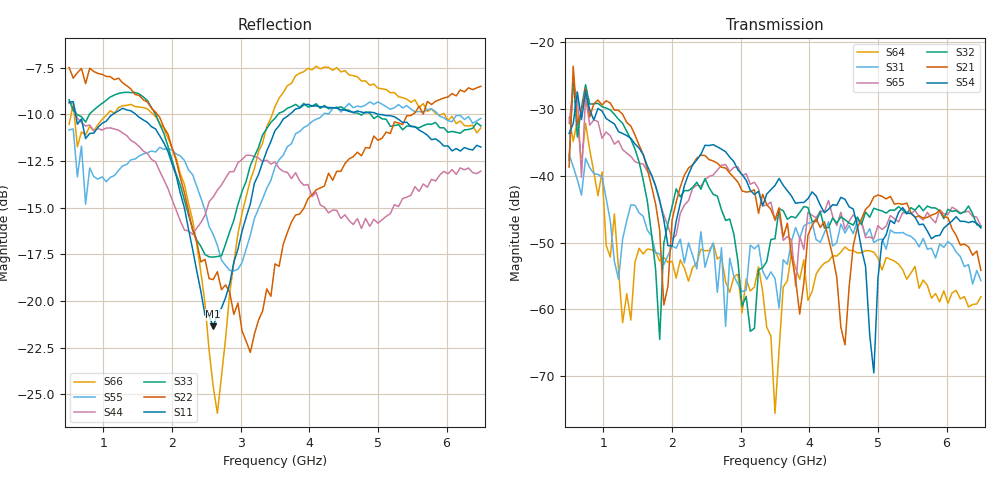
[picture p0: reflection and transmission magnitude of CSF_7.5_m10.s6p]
!Keysight Technologies,M9804A,MY58100912,A.14.10.03
!Date: Thursday, April 27, 2023 10:28:33
!Correction: S11(C  6-Port  )
!S12(C  6-Port  )
!S13(C  6-Port  )
!S14(C  6-Port  )
!S15(C  6-Port  )
!S16(C  6-Port  )
!S21(C  6-Port  )
!S22(C  6-Port  )
!S23(C  6-Port  )
!S24(C  6-Port  )
!S25(C  6-Port  )
!S26(C  6-Port  )
!S31(C  6-Port  )
!S32(C  6-Port  )
!S33(C  6-Port  )
!S34(C  6-Port  )
!S35(C  6-Port  )
!S36(C  6-Port  )
!S41(C  6-Port  )
!S42(C  6-Port  )
!S43(C  6-Port  )
!S44(C  6-Port  )
!S45(C  6-Port  )
!S46(C  6-Port  )
!S51(C  6-Port  )
!S52(C  6-Port  )
!S53(C  6-Port  )
!S54(C  6-Port  )
!S55(C  6-Port  )
!S56(C  6-Port  )
!S61(C  6-Port  )
!S62(C  6-Port  )
!S63(C  6-Port  )
!S64(C  6-Port  )
!S65(C  6-Port  )
!S66(C  6-Port  )
!S6P File: Measurement: :
# Hz S  RI  R 50
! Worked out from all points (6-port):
!   101 points, 500 MHz to 6.5 GHz, reference 50 ohm
!   strongest paths, dB at 500 MHz, 2 GHz, 3.5 GHz, 5 GHz, 6.5 GHz:
!     S54: -33.7, -50.6, -41.5, -55.4, -47.8
!     S21: -38.7, -46.7, -46.6, -42.9, -54.2
!     S32: -37.6, -44.6, -49.4, -45.1, -47.6
!     S65: -32.1, -49.4, -46.7, -47.5, -47.5
!     S31: -36.8, -50.5, -55.4, -49.6, -55.7
!     S64: -31.3, -52.8, -75.6, -52.3, -58.1
!   lowest |S11| = -21.4 dB at 2.6 GHz (marker M1), VSWR 1.19, Z = 42.4 + j2.3 ohm
!   |S11| at or under -10 dB: 593.3 MHz to 1.14 GHz (546.3 MHz wide, 63 % of centre); 1.47 GHz to 3.718 GHz (2.248 GHz wide, 86.7 % of centre); 4.996 GHz to end of sweep
